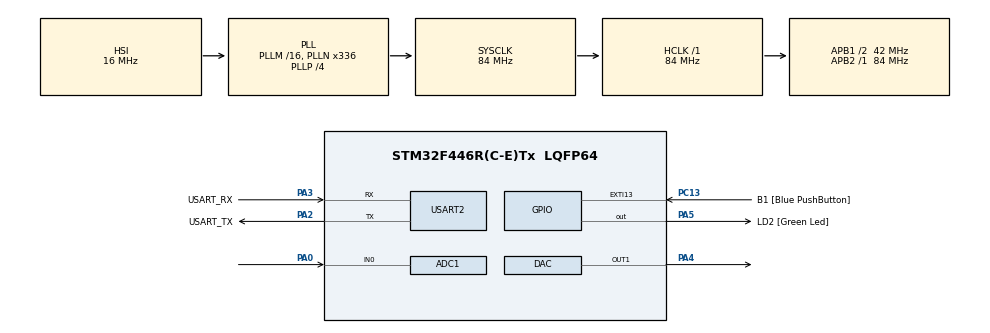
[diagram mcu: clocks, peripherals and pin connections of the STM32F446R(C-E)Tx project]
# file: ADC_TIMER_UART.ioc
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ADC1.Channel-0\#ChannelRegularConversion=ADC_CHANNEL_0
ADC1.NbrOfConversionFlag=1
ADC1.Rank-0\#ChannelRegularConversion=1
ADC1.SamplingTime-0\#ChannelRegularConversion=ADC_SAMPLETIME_3CYCLES
ADC1.master=1
Mcu.Family=STM32F4
Mcu.Name=STM32F446R(C-E)Tx
Mcu.Package=LQFP64
NVIC.PriorityGroup=NVIC_PRIORITYGROUP_0
NVIC.TIM1_UP_TIM10_IRQn=true\:0\:0\:false\:false\:true\:true\:true\:true
NVIC.USART2_IRQn=true\:0\:0\:false\:false\:true\:true\:true\:true
PA0-WKUP.Signal=ADCx_IN0
PA13.GPIO_Label=TMS
PA13.Mode=Serial_Wire
PA13.Signal=SYS_JTMS-SWDIO
PA14.GPIO_Label=TCK
PA14.Mode=Serial_Wire
PA14.Signal=SYS_JTCK-SWCLK
PA2.GPIO_Label=USART_TX
PA2.Mode=Asynchronous
PA2.Signal=USART2_TX
PA3.GPIO_Label=USART_RX
PA3.Mode=Asynchronous
PA3.Signal=USART2_RX
PA4.Signal=COMP_DAC1_group
PA5.GPIO_Label=LD2 [Green Led]
PA5.Signal=GPIO_Output
PB3.GPIO_Label=SWO
PB3.Signal=SYS_JTDO-SWO
PC13.GPIO_Label=B1 [Blue PushButton]
PC13.GPIO_ModeDefaultEXTI=GPIO_MODE_IT_FALLING
PC13.Signal=GPXTI13
PC14-OSC32_IN.Mode=LSE-External-Oscillator
PC14-OSC32_IN.Signal=RCC_OSC32_IN
PC15-OSC32_OUT.Mode=LSE-External-Oscillator
PC15-OSC32_OUT.Signal=RCC_OSC32_OUT
PH0-OSC_IN.Mode=HSE-External-Oscillator
PH0-OSC_IN.Signal=RCC_OSC_IN
PH1-OSC_OUT.Mode=HSE-External-Oscillator
PH1-OSC_OUT.Signal=RCC_OSC_OUT
ProjectManager.HeapSize=0x200
ProjectManager.StackSize=0x400
ProjectManager.TargetToolchain=STM32CubeIDE
RCC.48MHZClocksFreq_Value=84000000
RCC.AHBFreq_Value=84000000
RCC.APB1CLKDivider=RCC_HCLK_DIV2
RCC.APB1Freq_Value=42000000
RCC.APB1TimFreq_Value=84000000
RCC.APB2Freq_Value=84000000
RCC.APB2TimFreq_Value=84000000
RCC.CortexFreq_Value=84000000
RCC.FLatency-AdvancedSettings=FLASH_LATENCY_2
RCC.HCLKFreq_Value=84000000
RCC.HSE_VALUE=8000000
RCC.HSI_VALUE=16000000
RCC.PLLN=336
RCC.PLLP=RCC_PLLP_DIV4
RCC.SYSCLKFreq_VALUE=84000000
RCC.SYSCLKSource=RCC_SYSCLKSOURCE_PLLCLK
RCC.USBFreq_Value=168000000
RCC.VCOOutputFreq_Value=336000000
SH.ADCx_IN0.0=ADC1_IN0,IN0
SH.COMP_DAC1_group.0=DAC_OUT1,DAC_OUT1
TIM10.Prescaler=8399
USART2.VirtualMode=VM_ASYNC
VP_TIM10_VS_ClockSourceINT.Mode=Enable_Timer
board=NUCLEO-F446RE

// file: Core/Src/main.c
/* USER CODE BEGIN Header */
/*
 * ADC_TIMER_UART
 * Proyecto que muestra el uso del ADC en el STM32F446RE. La lectura se hace
 * dentro de la rutina de interrupción de un temporizador para que sea a una frecuencia constante.
 * Las conversiones se envían por UART, para poder ser leídas en una computadora.
 *
 * Basado en los ejemplos ADC_IT y TIM_IT del curso MOOC - STM32CubeMX and STM32Cube HAL basics
 * Modificado por Pedro Joaquín Castillo
 *
 * Para hacer uso de este programa se debe conectar un potenciómetro en configuración de
 * divisor de voltaje a los 3.3V de la placa NUCLEOF446RE.
 * La pata de en medio debe conectarse al pin PA0.
 * Consulten el diagrama esquemático de la placa NUCLEO para mayor detalle de la conexión
 * de los pines.
 */
/**
  ******************************************************************************
  * @file           : main.c
  * @brief          : Main program body
  ******************************************************************************
  * @attention
  *
  * Copyright (c) 2025 STMicroelectronics.
  * All rights reserved.
  *
  * This software is licensed under terms that can be found in the LICENSE file
  * in the root directory of this software component.
  * If no LICENSE file comes with this software, it is provided AS-IS.
  *
  ******************************************************************************
  */
/* USER CODE END Header */
#include "main.h"

/* USER CODE BEGIN Includes */
//Importante incluir estas librerías para evitar mensajes de alerta al momento del "build"
//Contienen funciones para enviar mensajes por puerto COM
#include <stdio.h>
#include <string.h>
#include <stdlib.h>
/* USER CODE END Includes */

ADC_HandleTypeDef hadc1;

DAC_HandleTypeDef hdac;

TIM_HandleTypeDef htim10;

UART_HandleTypeDef huart2;

/* USER CODE BEGIN PV */
//Arreglo para almacenar las conversiones del ADC
uint16_t x_n=0;
uint16_t x_n1=0;
char msg[30]; //Buffer para el mensaje a enviar por UART (debe ser del tamaño adecuado para que quepan todos
//caracteres a enviar)

//FRECUENCIA DE MUESTREO
//OJO: LA CONFIGURACIÓN ACTUAL PERMITE UNA Fs MÁXIMA DE 10kHz.
//SI SE DESEA UNA FRECUENCIA MÁS ALTA SE DEBE CAMBIAR LA CONFIGURACIÓN
uint16_t Fs = 1000; //En Hz
uint32_t timer_clk;
uint32_t pclk;
uint16_t N=0; //muestras
uint16_t countN=0;
uint8_t filter=2;
uint8_t flagFilter=0;

// Buffer UART para recibir el comando de Matlab
char     rx_buf[32];
uint8_t  rx_byte   = 0;
uint8_t  rx_index  = 0;
uint8_t  cmd_ready = 0;   // Flag: comando completo recibido

//float y[256];
float y_n;
float y_n1=0;

/* USER CODE END PV */

void SystemClock_Config(void);
static void MX_GPIO_Init(void);
static void MX_USART2_UART_Init(void);
static void MX_ADC1_Init(void);
static void MX_TIM10_Init(void);
static void MX_DAC_Init(void);

/* USER CODE BEGIN 0 */

//Callback para la interrupción de TIM10
void HAL_TIM_PeriodElapsedCallback(TIM_HandleTypeDef *htim)
{
    if (htim->Instance != TIM10) return;  // ✅ Verificar que es TIM10
    if (!flagFilter) return;               // ✅ Si no hay captura, salir inmediatamente

    HAL_ADC_Start(&hadc1);
    HAL_ADC_PollForConversion(&hadc1, HAL_MAX_DELAY);
    x_n = HAL_ADC_GetValue(&hadc1);

    switch (filter) {
        case 0:
            y_n = 0.9f * y_n1 + 0.9f * x_n - 0.9f * x_n1;
            break;
        case 1:
            y_n = 0.1f * x_n + 0.9f * y_n1;
            break;
        default:
            y_n = (float)x_n;   // ✅ bypass explícito en default
            break;
    }

    x_n1 = x_n;
    if (y_n > 4095.0f) y_n = 4095.0f;
    else if (y_n < 0.0f) y_n = 0.0f;
    y_n1 = y_n;

    HAL_DAC_SetValue(&hdac, DAC_CHANNEL_1, DAC_ALIGN_12B_R, (uint16_t)y_n);

    // Enviar por UART
    char msg[20];
    int  len = snprintf(msg, sizeof(msg), "%u,%u\n", x_n, (uint16_t)y_n);
    HAL_UART_Transmit(&huart2, (uint8_t*)msg, len, HAL_MAX_DELAY);

    countN++;
    if (countN >= N) {       // ✅ >= N para enviar exactamente N muestras
        flagFilter = 0;
        countN = 0;
    }
}

void parsear_comando(void)
{
    uint16_t nuevo_Fs    = Fs;
    uint8_t  nuevo_filt  = filter;

    // Extraer Fs
    char *p = strstr(rx_buf, "FS:");
    if (p) {
        nuevo_Fs = (uint16_t)atoi(p + 3);
    }

    // Extraer número de filtro
    p = strstr(rx_buf, "F:");
    if (p) {
        nuevo_filt = (uint8_t)atoi(p + 2);
    }

    // Extraer N (número de muestras)
    p = strstr(rx_buf, "N:");
    if (p) {
    	N = (uint16_t)atoi(p + 2);
    	countN=0;
    }

    // Validar y aplicar Fs
    if (nuevo_Fs >= 10 && nuevo_Fs <= 10000) {
        Fs = nuevo_Fs;
        uint32_t nuevo_period = (timer_clk / (htim10.Init.Prescaler + 1)) / Fs - 1;
        __HAL_TIM_SET_AUTORELOAD(&htim10, nuevo_period);
        __HAL_TIM_SET_COUNTER(&htim10, 0);
    }

    // Validar y aplicar filtro
    if (nuevo_filt <= 2) {
        filter = nuevo_filt;
        y_n1 = 0.0f;   // Resetear estado interno del filtro
        x_n1 = 0;
    }

    flagFilter=1;
    /*
    // Enviar a Matlab: "xn,yn\n"
    	char msg[20];
    	int  len = snprintf(msg, sizeof(msg), "%u,%u\n", (uin	t16_t)nuevo_Fs, nuevo_filt);
    	HAL_UART_Transmit(&huart2, (uint8_t*)msg, len, HAL_MAX_DELAY);
	*/
}

void HAL_UART_RxCpltCallback(UART_HandleTypeDef *huart){
	if (huart->Instance != USART2) return;

	    if (rx_byte == '\n') {
	        // Fin de línea — marcar comando listo
	        rx_buf[rx_index] = '\0';
	        rx_index  = 0;
	        cmd_ready = 1;
	    } else if (rx_index < sizeof(rx_buf) - 1) {
	        rx_buf[rx_index++] = rx_byte;
	    }

	    // Re-armar interrupción para el siguiente byte
	    HAL_UART_Receive_IT(&huart2, &rx_byte, 1);
}

/* USER CODE END 0 */

int main(void)
{

  /* MCU Configuration--------------------------------------------------------*/

  /* Reset of all peripherals, Initializes the Flash interface and the Systick. */
  HAL_Init();

  /* Configure the system clock */
  SystemClock_Config();

  /* Initialize all configured peripherals */
  MX_GPIO_Init();
  MX_USART2_UART_Init();
  MX_ADC1_Init();
  MX_TIM10_Init();
  MX_DAC_Init();
  /* USER CODE BEGIN 2 */
  HAL_DAC_Start(&hdac, DAC_CHANNEL_1); //Inicializa el Canal 1 del DAC
  HAL_TIM_Base_Start_IT(&htim10); //Esto inicializa el TIM10 y habilita la interrupción
  HAL_UART_Receive_IT(&huart2, &rx_byte, 1);

  /* USER CODE END 2 */

  /* Infinite loop */
  /* USER CODE BEGIN WHILE */
  while (1)
  {
	  if (cmd_ready) {
	          cmd_ready = 0;
	          parsear_comando();
	  }
    /* USER CODE END WHILE */

  }
}

void SystemClock_Config(void)
{
  RCC_OscInitTypeDef RCC_OscInitStruct = {0};
  RCC_ClkInitTypeDef RCC_ClkInitStruct = {0};

  /** Configure the main internal regulator output voltage
  */
  __HAL_RCC_PWR_CLK_ENABLE();
  __HAL_PWR_VOLTAGESCALING_CONFIG(PWR_REGULATOR_VOLTAGE_SCALE3);

  /** Initializes the RCC Oscillators according to the specified parameters
  * in the RCC_OscInitTypeDef structure.
  */
  RCC_OscInitStruct.OscillatorType = RCC_OSCILLATORTYPE_HSI;
  RCC_OscInitStruct.HSIState = RCC_HSI_ON;
  RCC_OscInitStruct.HSICalibrationValue = RCC_HSICALIBRATION_DEFAULT;
  RCC_OscInitStruct.PLL.PLLState = RCC_PLL_ON;
  RCC_OscInitStruct.PLL.PLLSource = RCC_PLLSOURCE_HSI;
  RCC_OscInitStruct.PLL.PLLM = 16;
  RCC_OscInitStruct.PLL.PLLN = 336;
  RCC_OscInitStruct.PLL.PLLP = RCC_PLLP_DIV4;
  RCC_OscInitStruct.PLL.PLLQ = 2;
  RCC_OscInitStruct.PLL.PLLR = 2;
  if (HAL_RCC_OscConfig(&RCC_OscInitStruct) != HAL_OK)
  {
    Error_Handler();
  }

  /** Initializes the CPU, AHB and APB buses clocks
  */
  RCC_ClkInitStruct.ClockType = RCC_CLOCKTYPE_HCLK|RCC_CLOCKTYPE_SYSCLK
                              |RCC_CLOCKTYPE_PCLK1|RCC_CLOCKTYPE_PCLK2;
  RCC_ClkInitStruct.SYSCLKSource = RCC_SYSCLKSOURCE_PLLCLK;
  RCC_ClkInitStruct.AHBCLKDivider = RCC_SYSCLK_DIV1;
  RCC_ClkInitStruct.APB1CLKDivider = RCC_HCLK_DIV2;
  RCC_ClkInitStruct.APB2CLKDivider = RCC_HCLK_DIV1;

  if (HAL_RCC_ClockConfig(&RCC_ClkInitStruct, FLASH_LATENCY_2) != HAL_OK)
  {
    Error_Handler();
  }
}

static void MX_ADC1_Init(void)
{

  ADC_ChannelConfTypeDef sConfig = {0};

  /** Configure the global features of the ADC (Clock, Resolution, Data Alignment and number of conversion)
  */
  hadc1.Instance = ADC1;
  hadc1.Init.ClockPrescaler = ADC_CLOCK_SYNC_PCLK_DIV4;
  hadc1.Init.Resolution = ADC_RESOLUTION_12B;
  hadc1.Init.ScanConvMode = DISABLE;
  hadc1.Init.ContinuousConvMode = DISABLE;
  hadc1.Init.DiscontinuousConvMode = DISABLE;
  hadc1.Init.ExternalTrigConvEdge = ADC_EXTERNALTRIGCONVEDGE_NONE;
  hadc1.Init.ExternalTrigConv = ADC_SOFTWARE_START;
  hadc1.Init.DataAlign = ADC_DATAALIGN_RIGHT;
  hadc1.Init.NbrOfConversion = 1;
  hadc1.Init.DMAContinuousRequests = DISABLE;
  hadc1.Init.EOCSelection = ADC_EOC_SINGLE_CONV;
  if (HAL_ADC_Init(&hadc1) != HAL_OK)
  {
    Error_Handler();
  }

  /** Configure for the selected ADC regular channel its corresponding rank in the sequencer and its sample time.
  */
  sConfig.Channel = ADC_CHANNEL_0;
  sConfig.Rank = 1;
  sConfig.SamplingTime = ADC_SAMPLETIME_3CYCLES;
  if (HAL_ADC_ConfigChannel(&hadc1, &sConfig) != HAL_OK)
  {
    Error_Handler();
  }

}

static void MX_DAC_Init(void)
{

  DAC_ChannelConfTypeDef sConfig = {0};

  /** DAC Initialization
  */
  hdac.Instance = DAC;
  if (HAL_DAC_Init(&hdac) != HAL_OK)
  {
    Error_Handler();
  }

  /** DAC channel OUT1 config
  */
  sConfig.DAC_Trigger = DAC_TRIGGER_NONE;
  sConfig.DAC_OutputBuffer = DAC_OUTPUTBUFFER_ENABLE;
  if (HAL_DAC_ConfigChannel(&hdac, &sConfig, DAC_CHANNEL_1) != HAL_OK)
  {
    Error_Handler();
  }

}

static void MX_TIM10_Init(void)
{

  /* USER CODE BEGIN TIM10_Init 0 */

	//Se obtiene la frecuencia del CLK que controla el TIM10
	pclk = HAL_RCC_GetPCLK2Freq();
	if ((RCC->CFGR & RCC_CFGR_PPRE2) != RCC_CFGR_PPRE2_DIV1) {
	    timer_clk = pclk * 2;  // Si el divisor es diferente a 1, se duplica la frecuencia del reloj
	} else {
	    timer_clk = pclk; //Si el divisor es 1, se mantiene igual
	}

	htim10.Init.Prescaler = 8399;
	//OJO: La siguiente línea de código permite modificar la frecuencia de muestreo al sólo cambiar Fs.
	//Note que la línea que configura el período está comentada en la sección de configuración del TIM10.
	//Si se genera nuevo código, debe comentar la línea en donde se asigna el valor del htim10.Init.Period en la
	//configuración del Timer.
	htim10.Init.Period = ((timer_clk / (htim10.Init.Prescaler + 1)) / Fs) - 1;
  /* USER CODE END TIM10_Init 0 */

  htim10.Instance = TIM10;
 // htim10.Init.Prescaler = 8399;
  htim10.Init.CounterMode = TIM_COUNTERMODE_UP;
  //htim10.Init.Period = 65535;
  htim10.Init.ClockDivision = TIM_CLOCKDIVISION_DIV1;
  htim10.Init.AutoReloadPreload = TIM_AUTORELOAD_PRELOAD_DISABLE;
  if (HAL_TIM_Base_Init(&htim10) != HAL_OK)
  {
    Error_Handler();
  }

}

static void MX_USART2_UART_Init(void)
{

  huart2.Instance = USART2;
  huart2.Init.BaudRate = 921600;
  huart2.Init.WordLength = UART_WORDLENGTH_8B;
  huart2.Init.StopBits = UART_STOPBITS_1;
  huart2.Init.Parity = UART_PARITY_NONE;
  huart2.Init.Mode = UART_MODE_TX_RX;
  huart2.Init.HwFlowCtl = UART_HWCONTROL_NONE;
  huart2.Init.OverSampling = UART_OVERSAMPLING_16;
  if (HAL_UART_Init(&huart2) != HAL_OK)
  {
    Error_Handler();
  }

}

static void MX_GPIO_Init(void)
{
  GPIO_InitTypeDef GPIO_InitStruct = {0};

  /* GPIO Ports Clock Enable */
  __HAL_RCC_GPIOC_CLK_ENABLE();
  __HAL_RCC_GPIOH_CLK_ENABLE();
  __HAL_RCC_GPIOA_CLK_ENABLE();
  __HAL_RCC_GPIOB_CLK_ENABLE();

  /*Configure GPIO pin Output Level */
  HAL_GPIO_WritePin(LD2_GPIO_Port, LD2_Pin, GPIO_PIN_RESET);

  /*Configure GPIO pin : B1_Pin */
  GPIO_InitStruct.Pin = B1_Pin;
  GPIO_InitStruct.Mode = GPIO_MODE_IT_FALLING;
  GPIO_InitStruct.Pull = GPIO_NOPULL;
  HAL_GPIO_Init(B1_GPIO_Port, &GPIO_InitStruct);

  /*Configure GPIO pin : LD2_Pin */
  GPIO_InitStruct.Pin = LD2_Pin;
  GPIO_InitStruct.Mode = GPIO_MODE_OUTPUT_PP;
  GPIO_InitStruct.Pull = GPIO_NOPULL;
  GPIO_InitStruct.Speed = GPIO_SPEED_FREQ_LOW;
  HAL_GPIO_Init(LD2_GPIO_Port, &GPIO_InitStruct);

}

void Error_Handler(void)
{
  __disable_irq();
  while (1)
  {
  }
}
